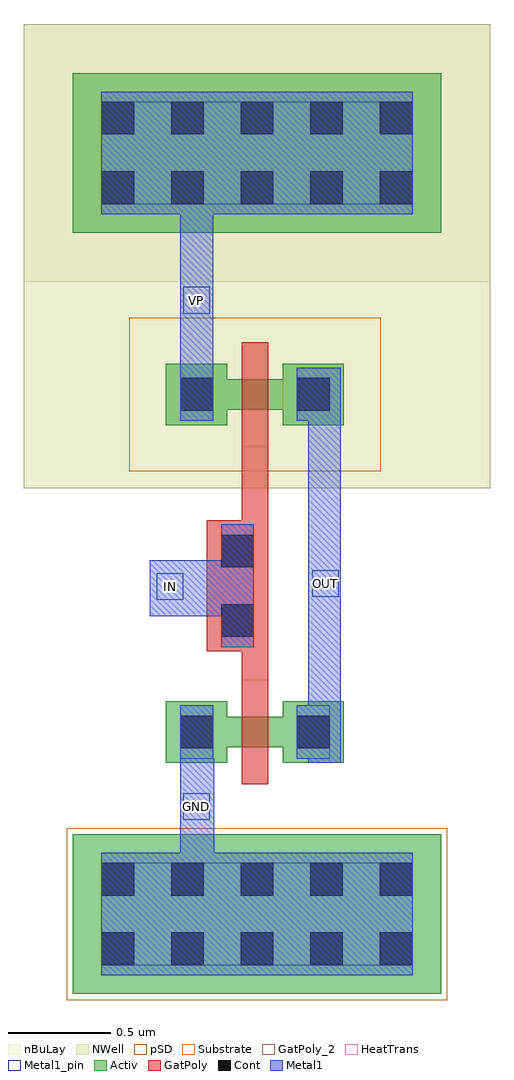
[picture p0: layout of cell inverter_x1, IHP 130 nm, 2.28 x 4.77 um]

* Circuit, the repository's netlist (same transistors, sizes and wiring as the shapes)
.subckt inverter_x1 IN VP OUT GND
*.ipin IN
*.iopin VP
*.opin OUT
*.iopin GND
M1 OUT IN GND GND sg13_lv_nmos w=0.15u l=0.13u ng=1
M2 OUT IN VP VP sg13_lv_pmos w=0.15u l=0.13u ng=1
.ends

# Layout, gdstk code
import gdstk
lib = gdstk.Library(unit=1e-6, precision=1e-09)
def R(c, l, rs):  # rectangles x0, y0, x1, y1
    for r in rs: c.add(gdstk.rectangle(r[:2], r[2:], *l))
def A(c, l, x, y, w, h, nx, ny, dx, dy):  # array of equal rectangles
    R(c, l, [(x+i*dx, y+j*dy, x+i*dx+w, y+j*dy+h) for i in range(nx) for j in range(ny)])
Activ = (1, 0)
GatPoly = (5, 0)
GatPoly_2 = (5, 2)
Cont = (6, 0)
Metal1 = (8, 0)
Metal1_pin = (8, 2)
pSD = (14, 0)
NWell = (31, 0)
nBuLay = (32, 0)
Substrate = (40, 0)
HeatTrans = (51, 0)

via = lib.new_cell('Via')
R(via, GatPoly, [(-0.15,-0.32,0.15,0.32)])
R(via, Cont, [(-0.08,-0.25,0.08,-0.09), (-0.08,0.09,0.08,0.25)])
R(via, Metal1, [(-0.08,-0.3,0.08,0.3)])

pmos_1 = lib.new_cell('pmos$1')
R(pmos_1, Activ, [(0,0,0.3,0.3), (0.57,0,0.87,0.3), (0,0.075,0.87,0.225)])
R(pmos_1, GatPoly, [(0.37,-0.105,0.5,0.405), (0.37,-0.105,0.5,0.405)])
R(pmos_1, Cont, [(0.07,0.07,0.23,0.23), (0.64,0.07,0.8,0.23)])
R(pmos_1, Metal1, [(0.07,0.02,0.23,0.28), (0.07,0.02,0.23,0.28), (0.64,0.02,0.8,0.28), (0.64,0.02,0.8,0.28)])
R(pmos_1, pSD, [(-0.18,-0.225,1.05,0.525)])
R(pmos_1, NWell, [(-0.31,-0.31,1.18,0.61)])
R(pmos_1, Substrate, [(0.57,0,0.87,0.3)])
R(pmos_1, HeatTrans, [(0.37,-0.105,0.5,0.405)])
pmos_1.add(gdstk.Label('pmos', (0.435,0.15), layer=63, texttype=0))
pmos_1.add(gdstk.Label('pmos', (0.435,0.15), layer=51, texttype=0))

nmos_1 = lib.new_cell('nmos$1')
R(nmos_1, Activ, [(0,0,0.3,0.3), (0.57,0,0.87,0.3), (0,0.075,0.87,0.225)])
R(nmos_1, GatPoly, [(0.37,-0.105,0.5,0.405)])
R(nmos_1, GatPoly_2, [(0.37,-0.105,0.5,0.405)])
R(nmos_1, Cont, [(0.07,0.07,0.23,0.23), (0.64,0.07,0.8,0.23)])
R(nmos_1, Metal1, [(0.07,0.02,0.23,0.28), (0.64,0.02,0.8,0.28)])
R(nmos_1, Metal1_pin, [(0.07,0.02,0.23,0.28), (0.64,0.02,0.8,0.28)])
R(nmos_1, HeatTrans, [(0.37,-0.105,0.5,0.405)])
nmos_1.add(gdstk.Label('nmos', (0.435,0.15), layer=63, texttype=0))
nmos_1.add(gdstk.Label('nmos', (0.435,0.15), layer=51, texttype=0))

inverter_x1 = lib.new_cell('inverter_x1')
A(inverter_x1, Activ, -1.06, -2.47, 0.78, 0.78, 4, 2, 0.34, 3.72)
R(inverter_x1, GatPoly, [(-0.235,-0.935,-0.105,-0.735), (-0.235,-0.155,-0.105,0.205)])
A(inverter_x1, Cont, -0.92, -2.33, 0.16, 0.16, 5, 2, 0.34, 0.34)
A(inverter_x1, Cont, -0.92, 1.39, 0.16, 0.16, 5, 2, 0.34, 0.34)
A(inverter_x1, Metal1, -0.92, -2.38, 0.5, 0.6, 4, 2, 0.34, 3.72)
R(inverter_x1, Metal1, [(-0.535,-1.885,-0.37,-1.32), (0.09,-1.34,0.25,-1.32), (0.09,-1.32,0.25,0.59), (-0.685,-0.625,-0.335,-0.35), (-0.535,0.59,-0.375,1.58)])
A(inverter_x1, Metal1_pin, -0.92, -2.33, 0.5, 0.5, 4, 2, 0.34, 3.72)
R(inverter_x1, Metal1_pin, [(-0.52,-1.62,-0.39,-1.49), (-0.65,-0.545,-0.52,-0.415), (0.11,-0.53,0.24,-0.4), (-0.52,0.855,-0.39,0.985)])
A(inverter_x1, pSD, -1.09, -2.5, 0.84, 0.84, 4, 1, 0.34, 0)
A(inverter_x1, NWell, -1.3, 1.01, 1.26, 1.26, 4, 1, 0.34, 0)
R(inverter_x1, NWell, [(-1.3,0,0.755,2.27), (0.755,0,0.98,2.27)])
A(inverter_x1, nBuLay, -1.3, 1.01, 1.26, 1.26, 4, 1, 0.34, 0)
inverter_x1.add(gdstk.Reference(via, (-0.255,-0.475)))
inverter_x1.add(gdstk.Reference(pmos_1, (-0.605,0.31)))
inverter_x1.add(gdstk.Reference(nmos_1, (-0.605,-1.34)))
inverter_x1.add(gdstk.Label('IN', (-0.585,-0.48), layer=8, texttype=25))
inverter_x1.add(gdstk.Label('OUT', (0.175,-0.465), layer=8, texttype=25))
inverter_x1.add(gdstk.Label('GND', (-0.455,-1.555), layer=8, texttype=25))
inverter_x1.add(gdstk.Label('VP', (-0.455,0.92), layer=8, texttype=25))

lib.write_gds('inverter_x1.gds')
